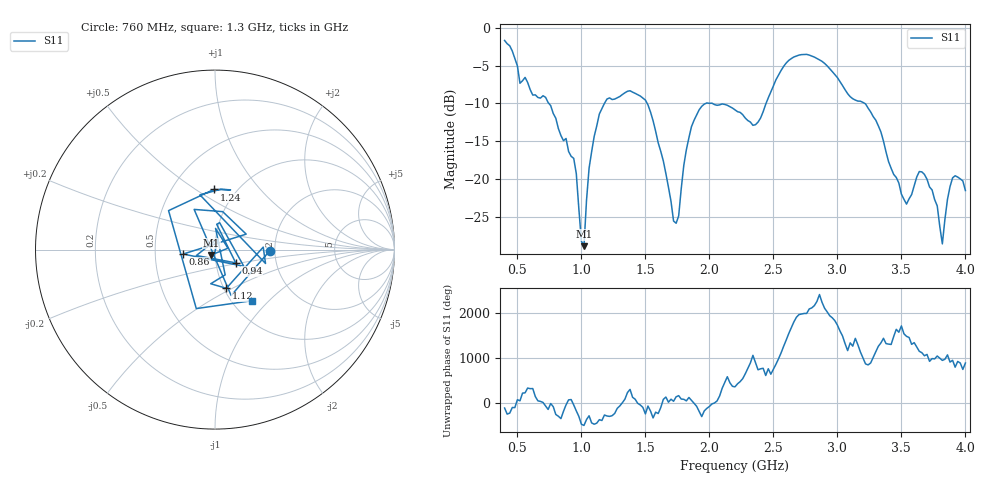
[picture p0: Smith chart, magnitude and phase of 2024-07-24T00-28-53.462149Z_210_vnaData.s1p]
!Created with skrf (http://scikit-rf.org).
# Hz S RI R 50.0
!freq ReS11 ImS11
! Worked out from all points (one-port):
!   181 points, 400 MHz to 4 GHz, reference 50 ohm
!   lowest |S11| = -28.9 dB at 1.02 GHz (marker M1), VSWR 1.07, Z = 47.9 - j2.85 ohm
!   |S11| at or under -10 dB: 745.6 MHz to 1.18 GHz (434.1 MHz wide, 45.1 % of centre); 1.514 GHz to 1.972 GHz (458.1 MHz wide, 26.3 % of centre); 3.214 GHz to end of sweep (the widest 3 of 4)
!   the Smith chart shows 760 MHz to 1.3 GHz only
!   S11 on the Smith chart (normalised r, x): 760 MHz: 1.88, -0.02; 860 MHz: 0.70, -0.04; 940 MHz: 1.25, -0.19; 1.12 GHz: 1.03, -0.47; 1.24 GHz: 0.79, +0.60; 1.3 GHz: 1.23, -0.80
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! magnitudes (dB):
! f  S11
! 400 MHz  -1.7
! 520 MHz  -7.3
! 760 MHz  -10.3
! 860 MHz  -14.9
! 940 MHz  -17.3
! 1 GHz  -28.2
! 1.02 GHz  -28.9
! 1.06 GHz  -18.6
! 1.12 GHz  -13.0
! 1.24 GHz  -9.5
! 1.3 GHz  -9.1
! 1.52 GHz  -10.2
! 1.72 GHz  -25.5
! 1.76 GHz  -24.9
! 1.82 GHz  -16.1
! 1.92 GHz  -10.8
! 2.2 GHz  -10.9
! 2.36 GHz  -12.8
! 2.66 GHz  -3.9
! 2.88 GHz  -4.4
! 3.1 GHz  -9.1
! 3.3 GHz  -12.2
! 3.56 GHz  -22.6
! 3.68 GHz  -19.4
! 3.78 GHz  -23.5
! 3.82 GHz  -28.6
! 3.9 GHz  -19.8
! 4 GHz  -21.5
